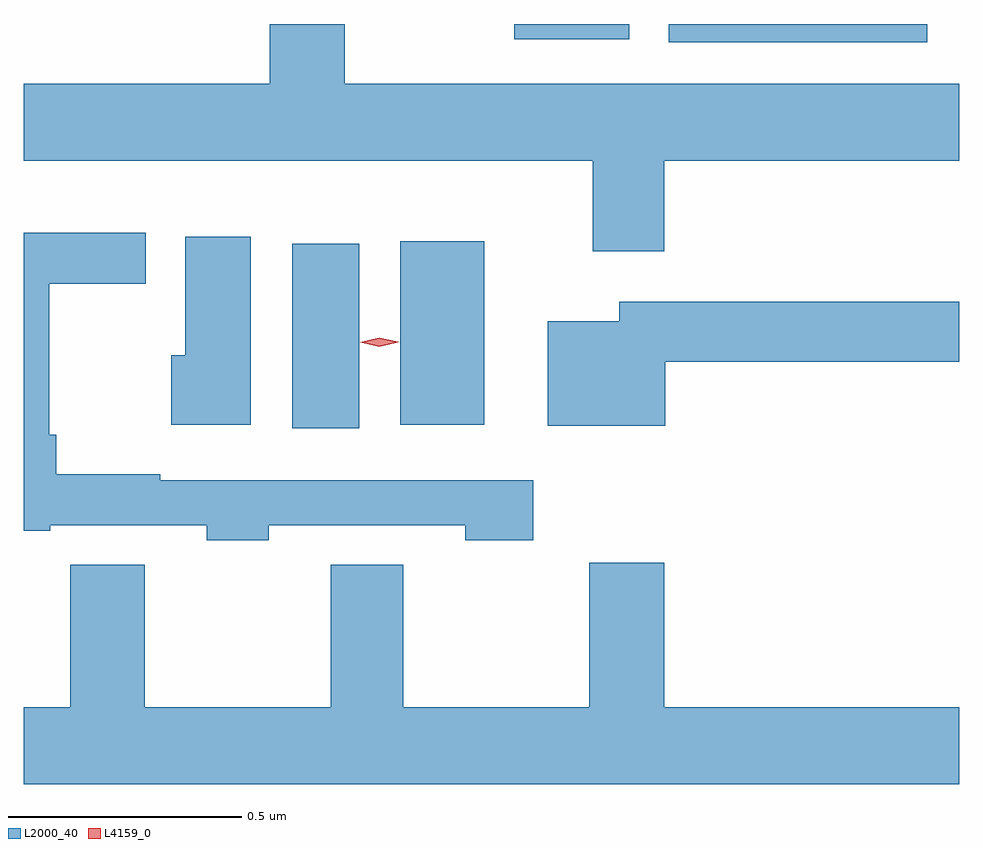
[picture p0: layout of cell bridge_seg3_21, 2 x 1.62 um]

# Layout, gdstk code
import gdstk
lib = gdstk.Library(unit=1e-6, precision=1e-09)
def R(c, l, rs):  # rectangles x0, y0, x1, y1
    for r in rs: c.add(gdstk.rectangle(r[:2], r[2:], *l))
def P(c, l, *ps):  # polygons
    for p in ps: c.add(gdstk.Polygon(p, *l))
L2000_40 = (2000, 40)
L4159_0 = (4159, 0)

bridge_seg3_21 = lib.new_cell('bridge_seg3_21')
R(bridge_seg3_21, L2000_40, [(840.233,746.964,840.376,747.358), (840.464,746.972,840.643,747.364), (841.038,747.789,841.59,747.828), (840.708,747.795,840.953,747.828)])
P(bridge_seg3_21, L2000_40, [(841.028,747.536),(841.659,747.536),(841.659,747.7),(840.345,747.7),(840.345,747.828),(840.185,747.828),(840.185,747.7),(839.659,747.7),(839.659,747.536),(840.875,747.536),(840.875,747.342),(841.028,747.342)],
  [(840.183,746.757),(840.603,746.757),(840.603,746.725),(840.748,746.725),(840.748,746.853),(839.951,746.853),(839.951,746.866),(839.729,746.866),(839.729,746.95),(839.714,746.95),(839.714,747.273),(839.92,747.273),(839.92,747.382),(839.659,747.382),(839.659,746.745),(839.716,746.745),(839.716,746.757),(840.051,746.757),(840.051,746.725),(840.183,746.725)],
  [(840.145,747.373),(840.005,747.373),(840.005,747.12),(839.975,747.12),(839.975,746.972),(840.145,746.972)],
  [(841.03,747.106),(841.659,747.106),(841.659,747.235),(840.932,747.235),(840.932,747.193),(840.779,747.193),(840.779,746.969),(841.03,746.969)],
  [(841.659,746.368),(841.028,746.368),(841.028,746.677),(840.868,746.677),(840.868,746.368),(840.47,746.368),(840.47,746.672),(840.316,746.672),(840.316,746.368),(839.918,746.368),(839.918,746.672),(839.759,746.672),(839.759,746.368),(839.659,746.368),(839.659,746.204),(841.659,746.204)])
P(bridge_seg3_21, L4159_0, [(840.419,747.138),(840.379,747.148),(840.379,747.148),(840.379,747.148),(840.419,747.158),(840.46,747.149),(840.46,747.148),(840.46,747.148)])

lib.write_gds('bridge_seg3_21.gds')
